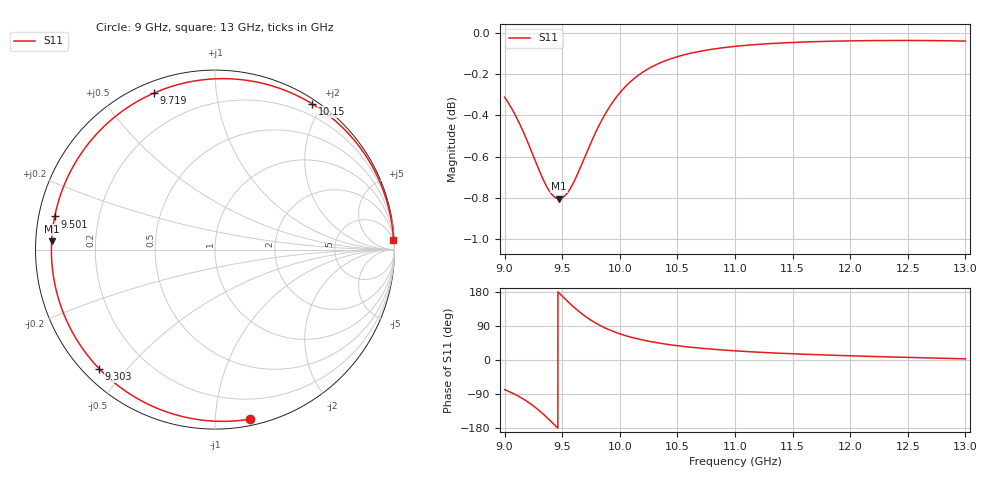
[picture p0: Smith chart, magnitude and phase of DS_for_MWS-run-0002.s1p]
! TOUCHSTONE file generated by CST DESIGN STUDIO
! Date and time: Tue Feb  4 17:07:58 2025
! Project name: C:\Work\MatlabApps\UnitCellOptimizationMatlab\CST\unitcell.cst
! Tree item: Tasks\Sweep1\SPara1\S-Parameters
! Header version: 2024
! Port assignment regex: !\s*Touchstone port\s*([0-9]+)\s*=\s*(CST MWS port|CST DES external port|CST DES block port)\s*(.+)\s* \(\"(.*)\"\)(\s*mode\s*([0-9]+))?.*
! Touchstone port assignment:
! Touchstone port 1 = CST DES external port 1 ("")
# GHz S MA R 50
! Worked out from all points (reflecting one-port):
!   4001 points, 9 GHz to 13 GHz, reference 50 ohm
!   lowest |S11| = -0.8 dB at 9.472 GHz (marker M1), VSWR 21.60, Z = 2.32 + j1.26 ohm
!   phase of S11 starts at -78 deg and turns -279 deg over the sweep
!   S11 on the Smith chart (normalised r, x): 9 GHz: 0.04, -1.23; 9.303 GHz: 0.05, -0.42; 9.501 GHz: 0.05, +0.10; 9.719 GHz: 0.05, +0.68; 10.15 GHz: 0.05, +1.87; 13 GHz: 3, +37
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9  0.9648 -78.3
9.074  0.9573 -88.3
9.171  0.945 -104.6
9.239  0.9351 -118.7
9.303  0.9257 -134.2
9.347  0.9198 -146.0
9.394  0.9149 -159.4
9.434  0.9123 -171.4
9.472  0.9115 177.1
9.5  0.9119 168.6
9.501  0.912 168.3
9.553  0.9151 153.0
9.613  0.9216 136.4
9.665  0.9285 123.3
9.719  0.9362 111.2
9.775  0.944 100.3
9.837  0.9517 89.8
9.917  0.9602 78.6
10  0.9672 69.1
10.148  0.9761 56.3
10.307  0.9822 46.4
10.5  0.9869 37.7
10.722  0.9902 30.6
11  0.9926 24.2
11.5  0.9948 16.4
12  0.9957 11.1
12.5  0.9959 6.8
13  0.9956 3.1
